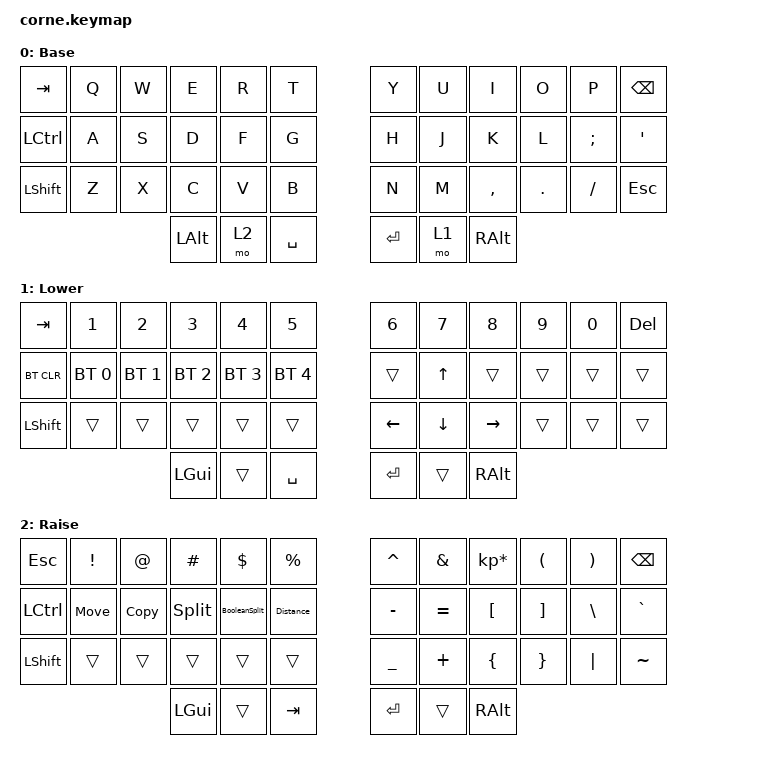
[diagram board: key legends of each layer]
/*
 * Copyright (c) 2020 The ZMK Contributors
 *
 * SPDX-License-Identifier: MIT
 */

#include <behaviors.dtsi>
#include <dt-bindings/zmk/bt.h>
#include <dt-bindings/zmk/keys.h>

/ {
    macros {
        Copy: Copy {
            compatible = "zmk,behavior-macro";
            #binding-cells = <0>;
            bindings = <&kp EXCLAMATION &kp EXCL &kp UNDER &kp LS(C) &kp O &kp P &kp Y &kp ENTER>;
            label = "COPY";
        };

        Move: Move {
            compatible = "zmk,behavior-macro";
            #binding-cells = <0>;
            bindings = <&none &kp EXCL &kp UNDER &kp LS(M) &kp O &kp V &kp E &kp RET>;
            label = "MOVE";
        };

        BooleanSplit: BooleanSplit {
            compatible = "zmk,behavior-macro";
            #binding-cells = <0>;
            bindings = <&none &kp EXCL &kp UNDER &kp LS(B) &kp O &kp O &kp L &kp E &kp A &kp N &kp LS(S) &kp P &kp L &kp I &kp T &kp RET>;
            label = "SPLIT";
        };

        Split: Split {
            compatible = "zmk,behavior-macro";
            #binding-cells = <0>;
            bindings = <&none &kp EXCL &kp UNDER &kp LS(S) &kp P &kp L &kp I &kp T &kp RET>;
            label = "SPLIT";
        };

        Offset: Offset {
            compatible = "zmk,behavior-macro";
            #binding-cells = <0>;
            bindings = <&none &kp EXCL &kp UNDER &kp LS(O) &kp F &kp F &kp S &kp E &kp T &kp RET>;
            label = "OFFSET";
        };

        Distance: Distance {
            compatible = "zmk,behavior-macro";
            #binding-cells = <0>;
            bindings = <&none &kp EXCL &kp UNDER &kp LS(D) &kp I &kp S &kp T &kp A &kp N &kp C &kp E &kp RET>;
            label = "DISTANCE";
        };
    };

    keymap {
        compatible = "zmk,keymap";

        default_layer {
            // -----------------------------------------------------------------------------------------
            // |  TAB |  Q  |  W  |  E  |  R  |  T  |   |  Y  |  U   |  I  |  O  |  P  | BKSP |
            // | CTRL |  A  |  S  |  D  |  F  |  G  |   |  H  |  J   |  K  |  L  |  ;  |  '   |
            // | SHFT |  Z  |  X  |  C  |  V  |  B  |   |  N  |  M   |  ,  |  .  |  /  | ESC  |
            //                    | GUI | LWR | SPC |   | ENT | RSE  | ALT |

            display-name = "Base";
            bindings = <
&kp TAB    &kp Q  &kp W  &kp E         &kp R  &kp T        &kp Y    &kp U  &kp I      &kp O    &kp P     &kp BSPC
&kp LCTRL  &kp A  &kp S  &kp D         &kp F  &kp G        &kp H    &kp J  &kp K      &kp L    &kp SEMI  &kp SQT
&kp LSHFT  &kp Z  &kp X  &kp C         &kp V  &kp B        &kp N    &kp M  &kp COMMA  &kp DOT  &kp FSLH  &kp ESC
                         &kp LEFT_ALT  &mo 2  &kp SPACE    &kp RET  &mo 1  &kp RALT
            >;
        };

        lower_layer {
            // -----------------------------------------------------------------------------------------
            // |  TAB |  1  |  2  |  3  |  4  |  5  |   |  6  |  7  |  8  |  9  |  0  | BKSP |
            // | BTCLR| BT1 | BT2 | BT3 | BT4 | BT5 |   | LFT | DWN |  UP | RGT |     |      |
            // | SHFT |     |     |     |     |     |   |     |     |     |     |     |      |
            //                    | GUI |     | SPC |   | ENT |     | ALT |

            display-name = "Lower";
            bindings = <
&kp TAB     &kp N1        &kp N2        &kp N3        &kp N4        &kp N5          &kp N6          &kp N7          &kp N8           &kp N9  &kp N0  &kp DELETE
&bt BT_CLR  &bt BT_SEL 0  &bt BT_SEL 1  &bt BT_SEL 2  &bt BT_SEL 3  &bt BT_SEL 4    &trans          &kp UP          &trans           &trans  &trans  &trans
&kp LSHFT   &trans        &trans        &trans        &trans        &trans          &kp LEFT_ARROW  &kp DOWN_ARROW  &kp RIGHT_ARROW  &trans  &trans  &trans
                                        &kp LGUI      &trans        &kp SPACE       &kp RET         &trans          &kp RALT
            >;
        };

        raise_layer {
            // -----------------------------------------------------------------------------------------
            // |  TAB |  !  |  @  |  #  |  $  |  %  |   |  ^  |  &  |  *  |  (  |  )  | BKSP |
            // | CTRL |     |     |     |     |     |   |  -  |  =  |  [  |  ]  |  \  |  `   |
            // | SHFT |     |     |     |     |     |   |  _  |  +  |  {  |  }  | "|" |  ~   |
            //                    | GUI |     | SPC |   | ENT |     | ALT |

            display-name = "Raise";
            bindings = <
&kp ESCAPE  &kp EXCL  &kp AT  &kp HASH  &kp DLLR       &kp PRCNT    &kp CARET  &kp AMPS   &kp KP_MULTIPLY  &kp LPAR  &kp RPAR  &kp BSPC
&kp LCTRL   &Move     &Copy   &Split    &BooleanSplit  &Distance    &kp MINUS  &kp EQUAL  &kp LBKT         &kp RBKT  &kp BSLH  &kp GRAVE
&kp LSHFT   &trans    &trans  &trans    &trans         &trans       &kp UNDER  &kp PLUS   &kp LBRC         &kp RBRC  &kp PIPE  &kp TILDE
                              &kp LGUI  &trans         &kp TAB      &kp RET    &trans     &kp RALT
            >;
        };

        extra_1 { status = "reserved"; };

        extra_2 { status = "reserved"; };

        extra_3 { status = "reserved"; };
    };
};
